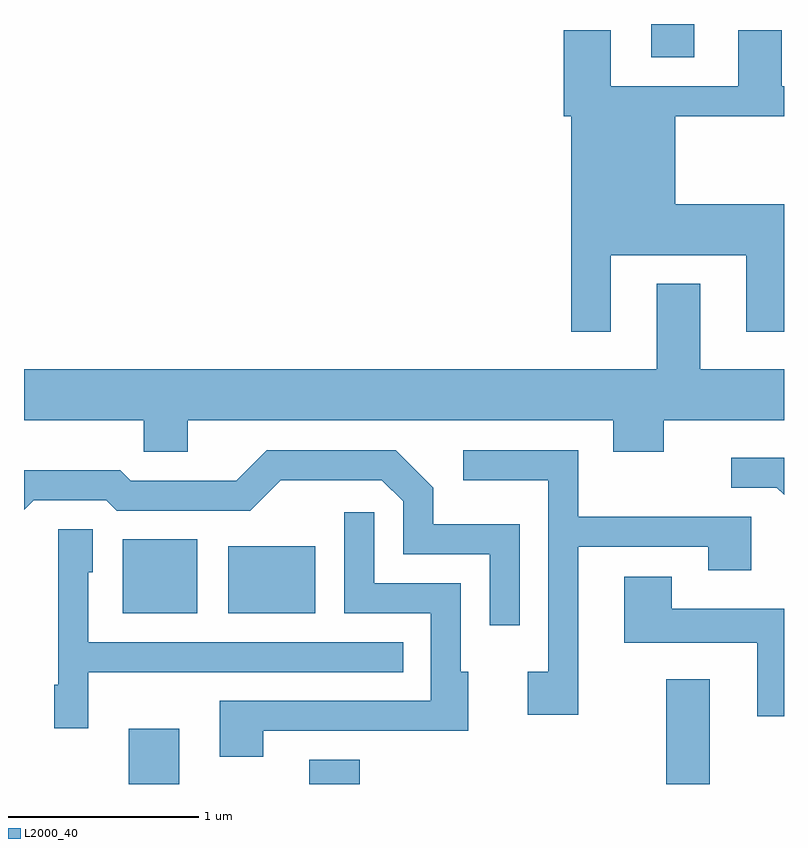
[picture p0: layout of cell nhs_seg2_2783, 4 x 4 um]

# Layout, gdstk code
import gdstk
lib = gdstk.Library(unit=1e-6, precision=1e-09)
def R(c, l, rs):  # rectangles x0, y0, x1, y1
    for r in rs: c.add(gdstk.rectangle(r[:2], r[2:], *l))
def P(c, l, *ps):  # polygons
    for p in ps: c.add(gdstk.Polygon(p, *l))
L2000_40 = (2000, 40)

nhs_seg2_2783 = lib.new_cell('nhs_seg2_2783')
R(nhs_seg2_2783, L2000_40, [(268.161,979.802,268.429,980.094), (269.111,979.802,269.379,979.929), (270.991,979.802,271.219,980.354), (268.131,980.701,268.524,981.089), (268.686,980.701,269.144,981.054), (270.911,983.626,271.139,983.802)])
P(nhs_seg2_2783, L2000_40, [(270.699,982.586),(271.411,982.586),(271.411,982.181),(271.611,982.181),(271.611,982.854),(271.039,982.854),(271.039,983.316),(271.611,983.316),(271.611,983.474),(271.599,983.474),(271.599,983.769),(271.371,983.769),(271.371,983.474),(270.699,983.474),(270.699,983.769),(270.451,983.769),(270.451,983.316),(270.491,983.316),(270.491,982.181),(270.699,982.181)],
  [(268.474,981.716),(270.711,981.716),(270.711,981.551),(270.979,981.551),(270.979,981.716),(271.611,981.716),(271.611,981.984),(271.169,981.984),(271.169,982.434),(270.941,982.434),(270.941,981.984),(267.611,981.984),(267.611,981.716),(268.241,981.716),(268.241,981.551),(268.474,981.551)],
  [(270.529,981.051),(271.211,981.051),(271.211,980.926),(271.439,980.926),(271.439,981.209),(270.529,981.209),(270.529,981.559),(269.923,981.559),(269.923,981.401),(270.371,981.401),(270.371,980.394),(270.261,980.394),(270.261,980.166),(270.529,980.166)],
  [(270.219,981.169),(269.764,981.169),(269.764,981.362),(269.567,981.559),(268.889,981.559),(268.729,981.399),(268.172,981.399),(268.117,981.454),(267.611,981.454),(267.611,981.246),(267.662,981.296),(268.044,981.296),(268.099,981.241),(268.802,981.241),(268.962,981.401),(269.494,981.401),(269.606,981.289),(269.606,981.011),(270.061,981.011),(270.061,980.638),(270.219,980.638)],
  [(271.611,981.519),(271.333,981.519),(271.333,981.361),(271.574,981.361),(271.611,981.324)],
  [(268.869,980.081),(269.949,980.081),(269.949,980.394),(269.909,980.394),(269.909,980.859),(269.454,980.859),(269.454,981.233),(269.296,981.233),(269.296,980.701),(269.751,980.701),(269.751,980.239),(268.641,980.239),(268.641,979.946),(268.869,979.946)],
  [(267.949,980.391),(269.608,980.391),(269.608,980.549),(267.949,980.549),(267.949,980.916),(267.974,980.916),(267.974,981.144),(267.791,981.144),(267.791,980.324),(267.771,980.324),(267.771,980.096),(267.949,980.096)],
  [(271.611,980.724),(271.019,980.724),(271.019,980.894),(270.771,980.894),(270.771,980.546),(271.471,980.546),(271.471,980.158),(271.611,980.158)])

lib.write_gds('nhs_seg2_2783.gds')
